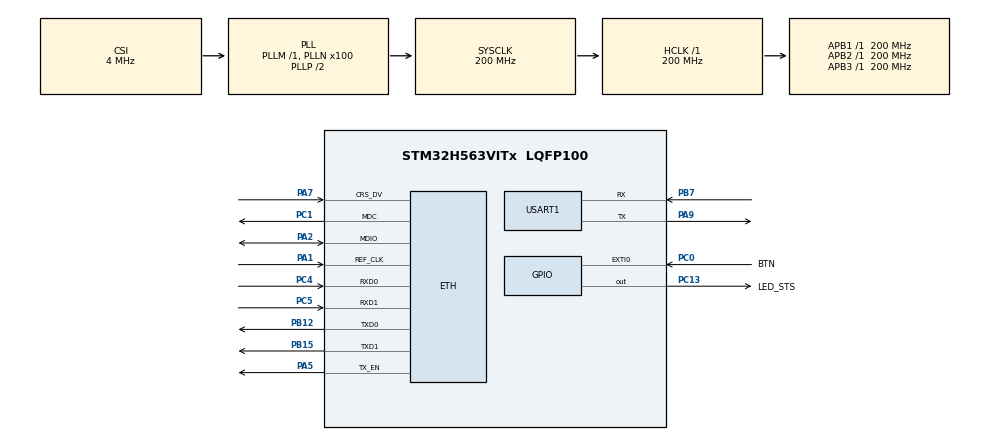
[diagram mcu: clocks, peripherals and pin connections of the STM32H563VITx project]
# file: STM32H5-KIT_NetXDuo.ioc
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BOOTPATH.BootPathName=LEGACY
BOOTPATH.UserSelectedBootPath=LEGACY
CORTEX_M33_NS.Number-Cortex_Memory_Protection_Unit_Region0_OTP_RO_AREAS_Settings=MPU_REGION_NUMBER0
CORTEX_M33_NS.default_mode_Activation=1
CORTEX_M33_NS.userName=CORTEX_M33
ETH.MediaInterface=HAL_ETH_RMII_MODE
ETH.RxBuffLen=1536
Mcu.Family=STM32H5
Mcu.Name=STM32H563VITx
Mcu.Package=LQFP100
NETXDUO.ETH_ON=1
NETXDUO.LAN_8742=1
NETXDUO.NX_APP_IP_INSTANCE_THREAD_SIZE=1024*2
NETXDUO.NX_APP_MEM_POOL_SIZE=1024*30
NETXDUO.NX_APP_PACKET_POOL_SIZE=10
NETXDUO.NX_APP_THREAD_STACK_SIZE=1024*2
NETXDUO.NX_DHCP_CLIENT_RESTORE_STATE=true
NETXDUO.NX_ENABLE_INTERFACE_CAPABILITY=true
NETXDUO.NetXDuo_Generate_Init_Code=true
NVIC.ETH_IRQn=true\:7\:0\:true\:false\:true\:false\:true\:true\:true
NVIC.EXTI0_IRQn=true\:7\:0\:true\:false\:true\:false\:true\:true\:true
NVIC.PriorityGroup=NVIC_PRIORITYGROUP_4
NVIC.TIM8_UP_IRQn=true\:15\:0\:false\:false\:true\:false\:false\:true\:true
NVIC.TimeBase=TIM8_UP_IRQn
NVIC.TimeBaseIP=TIM8
NetXDuo.BSP.number=1
NetXDuo0.BSP.STBoard=false
NetXDuo0.BSP.api=BSP_COMPONENT_DRIVER
NetXDuo0.BSP.component=lan8742
NetXDuo0.BSP.instance=lan8742
NetXDuo0.BSP.name=LAN_Component
NetXDuo0.BSP.semaphore=SEMA_lan8742
NetXDuo0.BSP.solution=lan8742
PA1.Mode=RMII
PA1.Signal=ETH_REF_CLK
PA13(JTMS/SWDIO).Mode=Serial_Wire
PA13(JTMS/SWDIO).Signal=DEBUG_JTMS-SWDIO
PA14(JTCK/SWCLK).Mode=Serial_Wire
PA14(JTCK/SWCLK).Signal=DEBUG_JTCK-SWCLK
PA2.Mode=RMII
PA2.Signal=ETH_MDIO
PA5.Mode=RMII
PA5.Signal=ETH_TX_EN
PA7.Mode=RMII
PA7.Signal=ETH_CRS_DV
PA9.Mode=Asynchronous
PA9.Signal=USART1_TX
PB12.Mode=RMII
PB12.Signal=ETH_TXD0
PB15.Mode=RMII
PB15.Signal=ETH_TXD1
PB7.Mode=Asynchronous
PB7.Signal=USART1_RX
PC0.GPIO_Label=BTN
PC0.GPIO_ModeDefaultEXTI=GPIO_MODE_IT_FALLING
PC0.GPIO_PuPd=GPIO_PULLUP
PC0.Signal=GPXTI0
PC1.Mode=RMII
PC1.Signal=ETH_MDC
PC13.GPIO_Label=LED_STS
PC13.PinState=GPIO_PIN_SET
PC13.Signal=GPIO_Output
PC4.Mode=RMII
PC4.Signal=ETH_RXD0
PC5.Mode=RMII
PC5.Signal=ETH_RXD1
PH0-OSC_IN(PH0).Mode=HSE-External-Oscillator
PH0-OSC_IN(PH0).Signal=RCC_OSC_IN
PH1-OSC_OUT(PH1).Mode=HSE-External-Oscillator
PH1-OSC_OUT(PH1).Signal=RCC_OSC_OUT
ProjectManager.HeapSize=0x200
ProjectManager.StackSize=0x400
ProjectManager.TargetToolchain=STM32CubeIDE
RCC.ADCFreq_Value=200000000
RCC.AHBFreq_Value=200000000
RCC.APB1Freq_Value=200000000
RCC.APB1TimFreq_Value=200000000
RCC.APB2Freq_Value=200000000
RCC.APB2TimFreq_Value=200000000
RCC.APB3Freq_Value=200000000
RCC.CSI_VALUE=4000000
RCC.CortexFreq_Value=200000000
RCC.EPOD_VALUE=4000000
RCC.HCLKFreq_Value=200000000
RCC.HSE_VALUE=25000000
RCC.HSI48_VALUE=48000000
RCC.HSI_VALUE=64000000
RCC.LSE_VALUE=32768
RCC.LSIRC_VALUE=32000
RCC.PLL2FRACN=0
RCC.PLL3FRACN=0
RCC.PLLFRACN=0
RCC.PLLN=100
RCC.SYSCLKFreq_VALUE=200000000
RCC.SYSCLKSource=RCC_SYSCLKSOURCE_PLLCLK
RCC.USBFreq_Value=48000000
RCC.VCOOutputFreq_Value=400000000
THREADX.TX_APP_CREATION=1
THREADX.TX_APP_GENERATE_INIT_CODE=true
THREADX.TX_APP_SEM_CREATION=1
USART1.VirtualMode-Asynchronous=VM_ASYNC
VP_BOOTPATH_VS_BOOTPATH.Mode=BP_Activate
VP_CORTEX_M33_NS_VS_Hclk.Mode=Hclk_Mode
VP_ICACHE_VS_ICACHE.Mode=DirectMappedCache
VP_MEMORYMAP_VS_MEMORYMAP.Mode=CurAppReg
VP_NETXDUO_VS_AddonsOoDHCP.Mode=Addons_DHCP_Client
VP_NETXDUO_VS_EthernetOoPhyOoInterface.Mode=LAN8742_Phy_Interface
VP_NETXDUO_VS_NXOoCore.Mode=NX_Core
VP_NETXDUO_VS_NetworkOoInterface.Mode=Ethernet_Interface
VP_PWR_VS_LPOM.Mode=PowerOptimisation
VP_PWR_VS_SECSignals.Mode=Security/Privilege
VP_SYS_VS_tim8.Mode=TIM8
VP_THREADX_VS_RTOSJjThreadXJjCoreJjDefault.Mode=Core_Default
board=custom

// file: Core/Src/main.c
/* USER CODE BEGIN Header */
/**
  ******************************************************************************
  * @file           : main.c
  * @brief          : Main program body
  ******************************************************************************
  * @attention
  *
  * Copyright (c) 2026 STMicroelectronics.
  * All rights reserved.
  *
  * This software is licensed under terms that can be found in the LICENSE file
  * in the root directory of this software component.
  * If no LICENSE file comes with this software, it is provided AS-IS.
  *
  ******************************************************************************
  */
/* USER CODE END Header */
#include "app_threadx.h"
#include "main.h"

/* USER CODE BEGIN Includes */
#include "stdio.h"
#if defined(__ICCARM__)
#include <LowLevelIOInterface.h>
#endif /* __ICCARM__ */
/* USER CODE END Includes */

/* USER CODE BEGIN PTD */
#if defined(__ICCARM__)
/* New definition from EWARM V9, compatible with EWARM8 */
int iar_fputc(int ch);
#define PUTCHAR_PROTOTYPE int iar_fputc(int ch)
#elif defined ( __CC_ARM ) || defined(__ARMCC_VERSION)
/* ARM Compiler 5/6*/
#define PUTCHAR_PROTOTYPE int fputc(int ch, FILE *f)
#elif defined(__GNUC__)
#define PUTCHAR_PROTOTYPE int __io_putchar(int ch)
#endif /* __ICCARM__ */
/* USER CODE END PTD */

ETH_DMADescTypeDef  DMARxDscrTab[ETH_RX_DESC_CNT]; /* Ethernet Rx DMA Descriptors */
ETH_DMADescTypeDef  DMATxDscrTab[ETH_TX_DESC_CNT]; /* Ethernet Tx DMA Descriptors */

ETH_HandleTypeDef heth;

UART_HandleTypeDef huart1;

void SystemClock_Config(void);
static void MPU_Config(void);
static void MX_GPIO_Init(void);
static void MX_ICACHE_Init(void);
static void MX_ETH_Init(void);
static void MX_USART1_UART_Init(void);

/* USER CODE BEGIN 0 */
/**
  * @brief  Retargets the C library __write function to the IAR function iar_fputc.
  * @param  file: file descriptor.
  * @param  ptr: pointer to the buffer where the data is stored.
  * @param  len: length of the data to write in bytes.
  * @retval length of the written data in bytes.
  */
#if defined(__ICCARM__)
size_t __write(int file, unsigned char const *ptr, size_t len)
{
  size_t idx;
  unsigned char const *pdata = ptr;

  for (idx = 0; idx < len; idx++)
  {
    iar_fputc((int)*pdata);
    pdata++;
  }
  return len;
}
#endif /* __ICCARM__ */

/**
  * @brief  Retargets the C library printf function to the USART.
  * @param  None
  * @retval None
  */

PUTCHAR_PROTOTYPE
{
  /* Place your implementation of putchar here */
  /* e.g. write a character to the USART3 and Loop until the end of transmission */
  HAL_UART_Transmit(&huart1, (uint8_t *)&ch, 1, 0xFFFF);
  return ch;
}
/* USER CODE END 0 */

int main(void)
{

  /* MCU Configuration--------------------------------------------------------*/

  /* MPU Configuration--------------------------------------------------------*/
  MPU_Config();

  /* Reset of all peripherals, Initializes the Flash interface and the Systick. */
  HAL_Init();

  /* Configure the system clock */
  SystemClock_Config();

  /* Initialize all configured peripherals */
  MX_GPIO_Init();
  MX_ICACHE_Init();
  MX_ETH_Init();
  MX_USART1_UART_Init();

  MX_ThreadX_Init();

  /* We should never get here as control is now taken by the scheduler */

  /* Infinite loop */
  while (1)
  {

  }
}

void SystemClock_Config(void)
{
  RCC_OscInitTypeDef RCC_OscInitStruct = {0};
  RCC_ClkInitTypeDef RCC_ClkInitStruct = {0};

  /** Configure the main internal regulator output voltage
  */
  __HAL_PWR_VOLTAGESCALING_CONFIG(PWR_REGULATOR_VOLTAGE_SCALE1);

  while(!__HAL_PWR_GET_FLAG(PWR_FLAG_VOSRDY)) {}

  /** Initializes the RCC Oscillators according to the specified parameters
  * in the RCC_OscInitTypeDef structure.
  */
  RCC_OscInitStruct.OscillatorType = RCC_OSCILLATORTYPE_CSI;
  RCC_OscInitStruct.CSIState = RCC_CSI_ON;
  RCC_OscInitStruct.CSICalibrationValue = RCC_CSICALIBRATION_DEFAULT;
  RCC_OscInitStruct.PLL.PLLState = RCC_PLL_ON;
  RCC_OscInitStruct.PLL.PLLSource = RCC_PLL1_SOURCE_CSI;
  RCC_OscInitStruct.PLL.PLLM = 1;
  RCC_OscInitStruct.PLL.PLLN = 100;
  RCC_OscInitStruct.PLL.PLLP = 2;
  RCC_OscInitStruct.PLL.PLLQ = 2;
  RCC_OscInitStruct.PLL.PLLR = 2;
  RCC_OscInitStruct.PLL.PLLRGE = RCC_PLL1_VCIRANGE_2;
  RCC_OscInitStruct.PLL.PLLVCOSEL = RCC_PLL1_VCORANGE_WIDE;
  RCC_OscInitStruct.PLL.PLLFRACN = 0;
  if (HAL_RCC_OscConfig(&RCC_OscInitStruct) != HAL_OK)
  {
    Error_Handler();
  }

  /** Initializes the CPU, AHB and APB buses clocks
  */
  RCC_ClkInitStruct.ClockType = RCC_CLOCKTYPE_HCLK|RCC_CLOCKTYPE_SYSCLK
                              |RCC_CLOCKTYPE_PCLK1|RCC_CLOCKTYPE_PCLK2
                              |RCC_CLOCKTYPE_PCLK3;
  RCC_ClkInitStruct.SYSCLKSource = RCC_SYSCLKSOURCE_PLLCLK;
  RCC_ClkInitStruct.AHBCLKDivider = RCC_SYSCLK_DIV1;
  RCC_ClkInitStruct.APB1CLKDivider = RCC_HCLK_DIV1;
  RCC_ClkInitStruct.APB2CLKDivider = RCC_HCLK_DIV1;
  RCC_ClkInitStruct.APB3CLKDivider = RCC_HCLK_DIV1;

  if (HAL_RCC_ClockConfig(&RCC_ClkInitStruct, FLASH_LATENCY_5) != HAL_OK)
  {
    Error_Handler();
  }

  /** Configure the programming delay
  */
  __HAL_FLASH_SET_PROGRAM_DELAY(FLASH_PROGRAMMING_DELAY_2);
}

static void MX_ETH_Init(void)
{

   static uint8_t MACAddr[6];

  heth.Instance = ETH;
  MACAddr[0] = 0x00;
  MACAddr[1] = 0x80;
  MACAddr[2] = 0xE1;
  MACAddr[3] = 0x00;
  MACAddr[4] = 0x00;
  MACAddr[5] = 0x00;
  heth.Init.MACAddr = &MACAddr[0];
  heth.Init.MediaInterface = HAL_ETH_RMII_MODE;
  heth.Init.TxDesc = DMATxDscrTab;
  heth.Init.RxDesc = DMARxDscrTab;
  heth.Init.RxBuffLen = 1536;

  if (HAL_ETH_Init(&heth) != HAL_OK)
  {
    Error_Handler();
  }

}

static void MX_ICACHE_Init(void)
{

  /** Enable instruction cache in 1-way (direct mapped cache)
  */
  if (HAL_ICACHE_ConfigAssociativityMode(ICACHE_1WAY) != HAL_OK)
  {
    Error_Handler();
  }
  if (HAL_ICACHE_Enable() != HAL_OK)
  {
    Error_Handler();
  }

}

static void MX_USART1_UART_Init(void)
{

  huart1.Instance = USART1;
  huart1.Init.BaudRate = 115200;
  huart1.Init.WordLength = UART_WORDLENGTH_8B;
  huart1.Init.StopBits = UART_STOPBITS_1;
  huart1.Init.Parity = UART_PARITY_NONE;
  huart1.Init.Mode = UART_MODE_TX_RX;
  huart1.Init.HwFlowCtl = UART_HWCONTROL_NONE;
  huart1.Init.OverSampling = UART_OVERSAMPLING_16;
  huart1.Init.OneBitSampling = UART_ONE_BIT_SAMPLE_DISABLE;
  huart1.Init.ClockPrescaler = UART_PRESCALER_DIV1;
  huart1.AdvancedInit.AdvFeatureInit = UART_ADVFEATURE_NO_INIT;
  if (HAL_UART_Init(&huart1) != HAL_OK)
  {
    Error_Handler();
  }
  if (HAL_UARTEx_SetTxFifoThreshold(&huart1, UART_TXFIFO_THRESHOLD_1_8) != HAL_OK)
  {
    Error_Handler();
  }
  if (HAL_UARTEx_SetRxFifoThreshold(&huart1, UART_RXFIFO_THRESHOLD_1_8) != HAL_OK)
  {
    Error_Handler();
  }
  if (HAL_UARTEx_DisableFifoMode(&huart1) != HAL_OK)
  {
    Error_Handler();
  }

}

static void MX_GPIO_Init(void)
{
  GPIO_InitTypeDef GPIO_InitStruct = {0};

  /* GPIO Ports Clock Enable */
  __HAL_RCC_GPIOC_CLK_ENABLE();
  __HAL_RCC_GPIOH_CLK_ENABLE();
  __HAL_RCC_GPIOA_CLK_ENABLE();
  __HAL_RCC_GPIOB_CLK_ENABLE();

  /*Configure GPIO pin Output Level */
  HAL_GPIO_WritePin(LED_STS_GPIO_Port, LED_STS_Pin, GPIO_PIN_SET);

  /*Configure GPIO pin : LED_STS_Pin */
  GPIO_InitStruct.Pin = LED_STS_Pin;
  GPIO_InitStruct.Mode = GPIO_MODE_OUTPUT_PP;
  GPIO_InitStruct.Pull = GPIO_NOPULL;
  GPIO_InitStruct.Speed = GPIO_SPEED_FREQ_LOW;
  HAL_GPIO_Init(LED_STS_GPIO_Port, &GPIO_InitStruct);

  /*Configure GPIO pin : BTN_Pin */
  GPIO_InitStruct.Pin = BTN_Pin;
  GPIO_InitStruct.Mode = GPIO_MODE_IT_FALLING;
  GPIO_InitStruct.Pull = GPIO_PULLUP;
  HAL_GPIO_Init(BTN_GPIO_Port, &GPIO_InitStruct);

  /* EXTI interrupt init*/
  HAL_NVIC_SetPriority(EXTI0_IRQn, 7, 0);
  HAL_NVIC_EnableIRQ(EXTI0_IRQn);

}

 /* MPU Configuration */

void MPU_Config(void)
{
  MPU_Region_InitTypeDef MPU_InitStruct = {0};
  MPU_Attributes_InitTypeDef MPU_AttributesInit = {0};

  /* Disables the MPU */
  HAL_MPU_Disable();

  /** Initializes and configures the Region 0 and the memory to be protected
  */
  MPU_InitStruct.Enable = MPU_REGION_ENABLE;
  MPU_InitStruct.Number = MPU_REGION_NUMBER0;
  MPU_InitStruct.BaseAddress = 0x08FFF000;
  MPU_InitStruct.LimitAddress = 0x08FFFFFF;
  MPU_InitStruct.AttributesIndex = MPU_ATTRIBUTES_NUMBER0;
  MPU_InitStruct.AccessPermission = MPU_REGION_ALL_RO;
  MPU_InitStruct.DisableExec = MPU_INSTRUCTION_ACCESS_DISABLE;
  MPU_InitStruct.IsShareable = MPU_ACCESS_NOT_SHAREABLE;

  HAL_MPU_ConfigRegion(&MPU_InitStruct);

  /** Initializes and configures the Attribute 0 and the memory to be protected
  */
  MPU_AttributesInit.Number = MPU_ATTRIBUTES_NUMBER0;
  MPU_AttributesInit.Attributes = INNER_OUTER(MPU_NOT_CACHEABLE);

  HAL_MPU_ConfigMemoryAttributes(&MPU_AttributesInit);
  /* Enables the MPU */
  HAL_MPU_Enable(MPU_PRIVILEGED_DEFAULT);

}

void HAL_TIM_PeriodElapsedCallback(TIM_HandleTypeDef *htim)
{
  if (htim->Instance == TIM8)
  {
    HAL_IncTick();
  }
}

void Error_Handler(void)
{
  __disable_irq();
  while (1)
  {
  }
}
